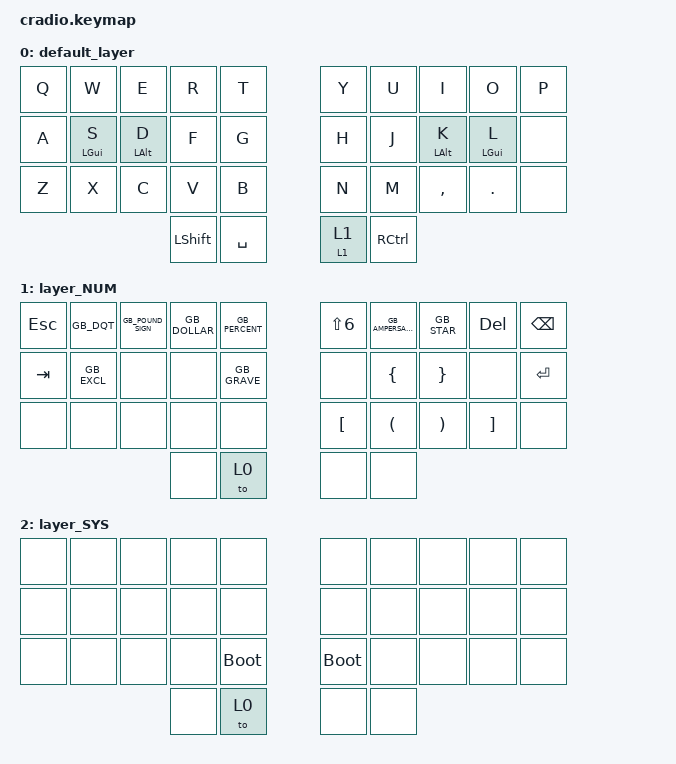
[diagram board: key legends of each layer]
#include <behaviors.dtsi>
#include <dt-bindings/zmk/keys.h>
#include <dt-bindings/zmk/bt.h>
#include "keys_en_gb_extended.h"

&mt {
	tapping-term-ms = <400>;
	flavor = "tap-preferred";
};

/ {

	combos {
		compatible = "zmk,combos";
		combo_system {
			timeout-ms = <50>;
			key-positions = <2 3 4>;
			layers = <0 5>;
			bindings = <&tog 2>;
		};
	};

	behaviors {
		lms: behavior_mo_sl {
			compatible = "zmk,behavior-hold-tap";
			label = "mo_sl";
			#binding-cells = <2>;
			flavor = "hold-preferred";
			tapping-term-ms = <400>;
			bindings = <&mo>, <&to>;
		};
	};

	keymap {
		compatible = "zmk,keymap";

		default_layer {
			bindings = <
&kp Q       &kp W       &kp E       &kp R       &kp T                   &kp Y       &kp U       &kp I       &kp O       &kp P
&kp A       &mt LGUI S  &mt LALT D  &kp F       &kp G                   &kp H       &kp J       &mt LALT K  &mt LGUI L  &none
&kp Z       &kp X       &kp C       &kp V       &kp B                   &kp N       &kp M       &kp COMMA   &kp DOT     &none
                                    &kp LSHIFT  &kp SPACE               &lms 1 1    &kp RCTRL
			>;
		};

		layer_NUM {
			bindings = <
&kp ESC        &kp GB_DQT         &kp GB_POUND_SIGN     &kp GB_DOLLAR   &kp GB_PERCENT        	&kp LS(N6)        &kp GB_AMPERSAND      &kp GB_STAR        		&kp DELETE        &kp BACKSPACE
&kp TAB         &kp GB_EXCL				&none      						&none    				&kp GB_GRAVE            &none     				&kp LEFT_BRACE 				&kp RIGHT_BRACE     	&none 						&kp ENTER
&none         &none         			&none         				&none         	&none                   &kp LEFT_BRACKET  &kp LEFT_PARENTHESIS  &kp RIGHT_PARENTHESIS	&kp RIGHT_BRACKET &none
                                          							&none           &to 0                   &none         		&none
			>;
		};

// 		layer_SYM {
// 			bindings = <
// &kp LS(N1)               &kp LS(N2)               &kp LS(N3)               &kp LS(N4)               &kp LS(N5)                                        &kp LS(N6)               &kp LS(N7)               &kp LS(N8)               &kp LS(N9)               &kp LS(N0)
// &kp LS(LEFT_BRACKET)     &kp LS(RIGHT_BRACKET)    &kp LEFT_BRACKET         &kp RIGHT_BRACKET        &kp NON_US_HASH                                   &kp LS(APOSTROPHE)       &kp APOSTROPHE           &kp LS(SEMICOLON)        &kp SEMICOLON            &kp LS(SLASH)
// &kp LS(NON_US_BACKSLASH) &kp NON_US_BACKSLASH     &none                    &kp LS(NON_US_HASH)      &kp GRAVE                                         &kp MINUS                &kp LS(MINUS)            &kp EQUAL                &kp LS(EQUAL)            &kp SLASH
//                                                                            &none                    &none                                             &kp DEL                  &kp BACKSPACE
// 			>;
// 		};

// 		layer_NAV {
// 			bindings = <
// &kp ESCAPE       &none            &kp K_PREV       &kp K_PLAY_PAUSE &kp K_NEXT                        &kp PAGE_UP      &kp HOME         &kp END          &none            &kp PRINTSCREEN
// &none            &kp LGUI         &kp LALT         &none            &kp K_VOL_UP                      &kp LEFT_ARROW   &kp DOWN_ARROW   &kp UP_ARROW     &kp RIGHT_ARROW  &kp LSHIFT
// &none            &none            &none            &none            &kp K_VOL_DN                      &kp PAGE_DOWN    &none            &none            &none            &kp LCTRL
//                                                    &none            &none                             &none            &none
// 			>;
// 		};

// 		layer_WM {
// 			bindings = <
// &kp LG(N1)          &kp LG(N2)          &kp LG(N3)          &kp LG(N4)          &kp LG(N5)                              &kp LG(N6)          &kp LG(N7)          &kp LG(N8)          &kp LG(N9)          &kp LG(N0)
// &kp LSHIFT          &kp LG(W)           &kp LG(E)           &kp LG(V)           &kp LG(H)                               &kp LG(LEFT_ARROW)  &kp LG(DOWN_ARROW)  &kp LG(UP_ARROW)    &kp LG(RIGHT_ARROW) &none
// &kp LALT            &none               &none               &none               &none                                   &none               &none               &none               &none               &none
//                                                             &kp LG(LS(Q))       &none                                   &kp LG(D)           &kp LG(ENTER)
// 			>;
// 		};

		layer_SYS {
			bindings = <
&none        &none        &none        &none        &none                     &none        &none        &none        &none        &none
&none        &none        &none        &none        &none                     &none        &none        &none        &none        &none
&none        &none        &none        &none        &bootloader               &bootloader  &none        &none        &none        &none
                                       &none				&to 0                     &none        &none
			>;
		};

// 		layer_FUN {
// 			bindings = <
// &none      &none      &none      &none      &none                 &kp F1     &kp F2     &kp F3     &kp F4     &none
// &none      &kp LGUI   &kp LALT   &kp LSHIFT &kp LCTRL             &kp F5     &kp F6     &kp F7     &kp F8     &none
// &none      &none      &none      &none      &none                 &kp F9     &kp F10    &kp F11    &kp F12    &none
//                                  &none      &none                 &none      &none
// 			>;
// 		};

	};
};

